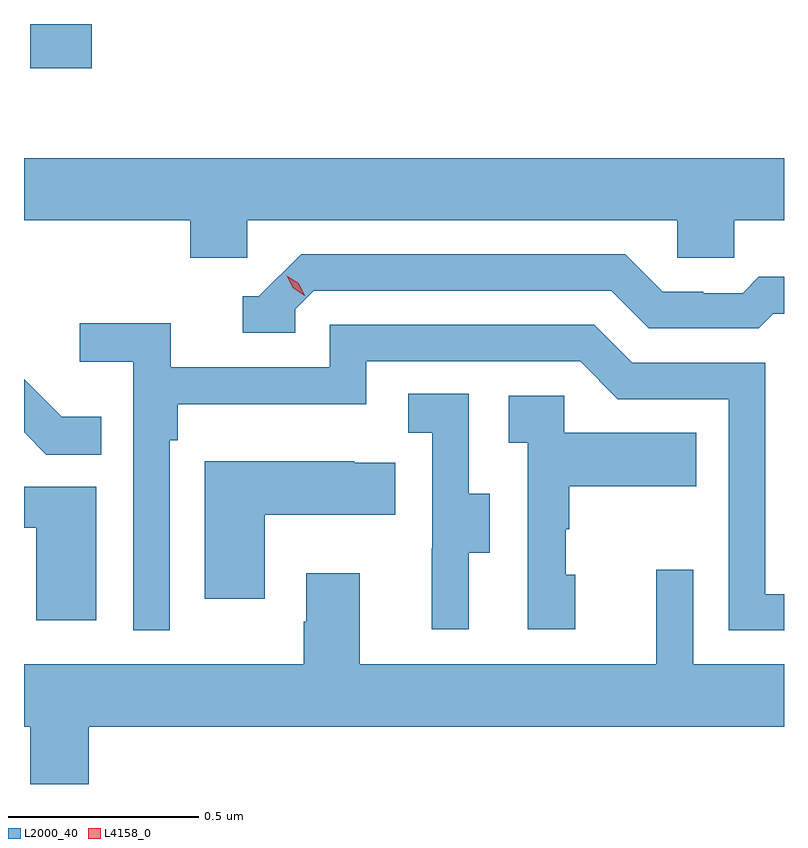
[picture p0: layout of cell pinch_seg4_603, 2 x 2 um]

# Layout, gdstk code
import gdstk
lib = gdstk.Library(unit=1e-6, precision=1e-09)
def R(c, l, rs):  # rectangles x0, y0, x1, y1
    for r in rs: c.add(gdstk.rectangle(r[:2], r[2:], *l))
def P(c, l, *ps):  # polygons
    for p in ps: c.add(gdstk.Polygon(p, *l))
L2000_40 = (2000, 40)
L4158_0 = (4158, 0)

pinch_seg4_603 = lib.new_cell('pinch_seg4_603')
R(pinch_seg4_603, L2000_40, [(1058.657,789.228,1058.818,789.345)])
P(pinch_seg4_603, L2000_40, [(1058.64,788.828),(1059.077,788.828),(1059.077,788.73),(1059.228,788.73),(1059.228,788.828),(1060.359,788.828),(1060.359,788.73),(1060.509,788.73),(1060.509,788.828),(1060.64,788.828),(1060.64,788.992),(1058.64,788.992)],
  [(1059.354,788.595),(1059.402,788.643),(1060.185,788.643),(1060.284,788.544),(1060.573,788.544),(1060.612,788.583),(1060.64,788.583),(1060.64,788.68),(1060.573,788.68),(1060.531,788.637),(1060.428,788.637),(1060.428,788.64),(1060.321,788.64),(1060.222,788.739),(1059.369,788.739),(1059.258,788.628),(1059.215,788.628),(1059.215,788.532),(1059.354,788.532)],
  [(1059.024,788.249),(1059.044,788.249),(1059.044,788.345),(1059.54,788.345),(1059.54,788.457),(1060.104,788.457),(1060.203,788.358),(1060.494,788.358),(1060.494,787.749),(1060.64,787.749),(1060.64,787.845),(1060.59,787.845),(1060.59,788.454),(1060.24,788.454),(1060.141,788.553),(1059.444,788.553),(1059.444,788.442),(1059.026,788.442),(1059.026,788.558),(1058.787,788.558),(1058.787,788.456),(1058.928,788.456),(1058.928,787.749),(1059.024,787.749)],
  [(1058.843,788.311),(1058.739,788.311),(1058.64,788.41),(1058.64,788.271),(1058.699,788.212),(1058.843,788.212)],
  [(1059.811,787.954),(1059.865,787.954),(1059.865,788.109),(1059.81,788.109),(1059.81,788.372),(1059.651,788.372),(1059.651,788.269),(1059.714,788.269),(1059.714,787.965),(1059.713,787.965),(1059.713,787.752),(1059.811,787.752)],
  [(1060.09,787.896),(1060.065,787.896),(1060.065,788.015),(1060.075,788.015),(1060.075,788.129),(1060.409,788.129),(1060.409,788.269),(1060.062,788.269),(1060.062,788.367),(1059.915,788.367),(1059.915,788.243),(1059.966,788.243),(1059.966,787.752),(1060.09,787.752)],
  [(1059.274,788.054),(1059.617,788.054),(1059.617,788.191),(1059.509,788.191),(1059.509,788.194),(1059.116,788.194),(1059.116,787.833),(1059.274,787.833)],
  [(1058.83,788.127),(1058.64,788.127),(1058.64,788.019),(1058.672,788.019),(1058.672,787.776),(1058.83,787.776)],
  [(1058.81,787.496),(1060.64,787.496),(1060.64,787.66),(1060.401,787.66),(1060.401,787.909),(1060.304,787.909),(1060.304,787.66),(1059.523,787.66),(1059.523,787.9),(1059.383,787.9),(1059.383,787.772),(1059.376,787.772),(1059.376,787.66),(1058.64,787.66),(1058.64,787.496),(1058.657,787.496),(1058.657,787.345),(1058.81,787.345)])
P(pinch_seg4_603, L4158_0, [(1059.379,788.63),(1059.348,788.649),(1059.332,788.682),(1059.332,788.682),(1059.332,788.682),(1059.363,788.663),(1059.379,788.63),(1059.379,788.63)])

lib.write_gds('pinch_seg4_603.gds')
